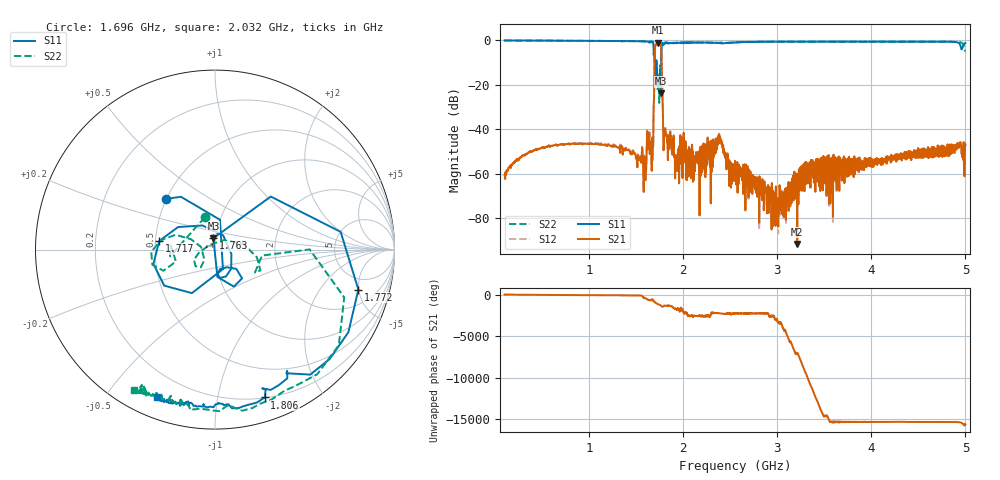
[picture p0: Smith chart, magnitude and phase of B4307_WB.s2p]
! Matrix data file written by TouchstoneData, EPCOS AG
! FILENAME: "B4307_02_WB.s2p_newformat"
! COMMENT: "(B4307_02_WB.s2p) Epcos AG 3/3/2011 4:02:45"
! INFO: nport=2, nfreq=1601
! DATE: "Mon Mar 14 19:02:42 2011"
! USER: "Michael Schemies"
! port | pin | signal
!  1  |  1  |  in
!  2  |  4  |  out
# MHZ S MA R 50
! freq  magS11 angS11  magS21 angS21  magS12 angS12  magS22 angS22
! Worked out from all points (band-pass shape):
!   1601 points, 100 MHz to 5 GHz, reference 50 ohm
!   highest |S21| = -1.04 dB at 1.729 GHz (marker M1); lowest = -91.7 dB at 3.212 GHz (marker M2)
!   |S21| within 3 dB of the highest: 1.699 GHz to 1.766 GHz (67.18 MHz wide, 3.88 % of centre)
!   lowest |S11| = -23.9 dB at 1.763 GHz (marker M3), VSWR 1.14, Z = 48.7 + j6.2 ohm
!   |S11| at or under -10 dB: 1.699 GHz to 1.71 GHz (10.61 MHz wide, 0.623 % of centre); 1.717 GHz to 1.766 GHz (48.66 MHz wide, 2.79 % of centre)
!   |S22| runs from -28.1 to 0.0 dB; largest |S21 - S12| = 0.0016
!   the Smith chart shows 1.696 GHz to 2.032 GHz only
!   S11 on the Smith chart (normalised r, x): 1.696 GHz: 0.50, +0.33; 1.717 GHz: 0.52, +0.06; 1.763 GHz: 0.97, +0.12; 1.772 GHz: 3.47, -4.94; 1.806 GHz: 0.20, -1.37; 2.032 GHz: 0.09, -0.68
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100  0.9946 -8.8  0.0009216 74.0  0.0009001 72.3  0.995 -10.2
415.4375  0.9894 -35.3  0.003348 51.4  0.003342 51.9  0.9919 -40.5
917.6875  0.9769 -72.7  0.004765 13.0  0.00476 12.9  0.9791 -81.1
1585.312  0.9501 -126.2  0.002451 52.6  0.002571 52.5  0.949 -132.2
1664.938  0.9054 -157.2  0.001167 -131.5  0.001167 -130.6  0.9476 -158.0
1695.562  0.3931 134.1  0.4656 -70.6  0.4653 -70.6  0.1885 107.6
1717  0.3144 171.1  0.8285 82.6  0.8275 82.6  0.3069 170.2
1729.25  0.09439 -14.9  0.8874 15.0  0.887 15.1  0.08192 -135.9
1735.375  0.1618 -67.8  0.8725 -16.8  0.8723 -16.8  0.1424 -139.5
1762.938  0.06405 98.1  0.7657 170.3  0.7654 170.4  0.2642 -7.2
1772.125  0.8292 -15.6  0.2049 76.8  0.2048 76.9  0.8718 -37.7
1805.812  0.8689 -71.4  0.009342 178.2  0.009737 178.2  0.9001 -88.3
1931.375  0.8829 -103.0  0.00209 11.5  0.002183 11.3  0.8804 -112.2
2032.438  0.8843 -111.6  0.0007248 70.1  0.0007633 71.0  0.9013 -119.9
2387.688  0.8702 -125.3  0.005114 -33.7  0.005342 -33.2  0.8843 -131.9
2550  0.8942 -127.1  0.001929 -47.2  0.001946 -47.5  0.9042 -135.1
2994.062  0.932 -139.0  8.59e-05 43.3  0.0001095 41.2  0.934 -146.4
3211.5  0.931 -143.6  2.611e-05 70.1  2.33e-05 -86.1  0.9334 -150.7
3367.688  0.933 -146.4  0.0009843 -136.6  0.0009598 -135.9  0.9376 -153.2
4185.375  0.9335 -158.4  0.002129 122.9  0.00214 123.6  0.9423 -165.6
4920.375  0.8964 -172.8  0.004387 84.8  0.004417 84.9  0.9256 -178.6
5000  0.8755 -158.0  0.004255 144.6  0.004259 144.5  0.5724 -169.5
